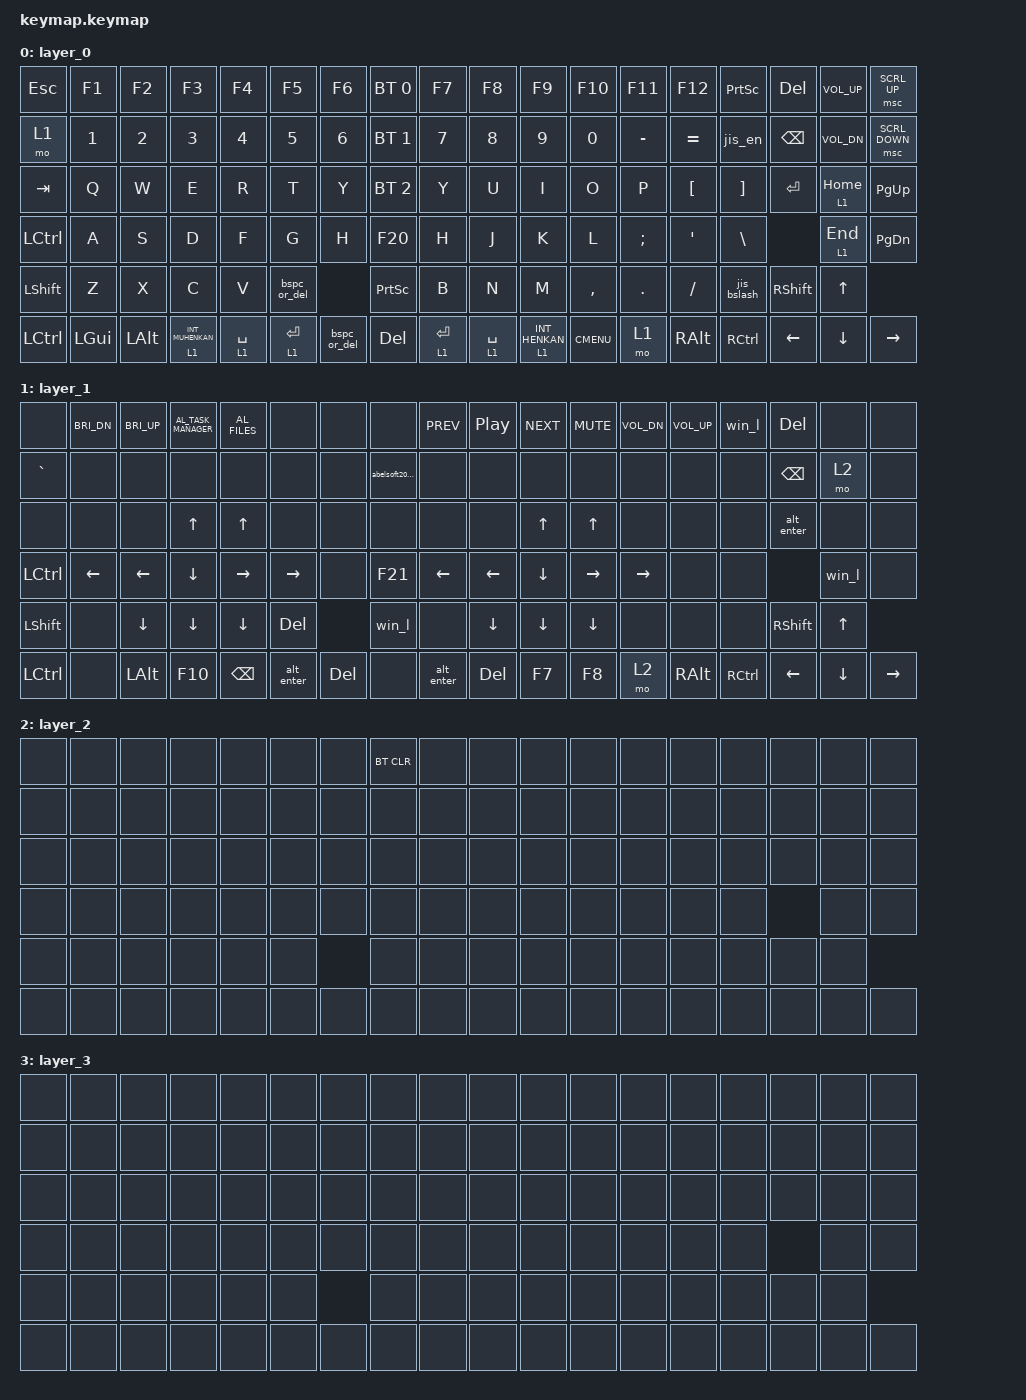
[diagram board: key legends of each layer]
#include <behaviors.dtsi>
#include <dt-bindings/zmk/keys.h>       // キーボード用コード
#include <dt-bindings/zmk/bt.h>         // Bluetooth 用コード
#include <dt-bindings/zmk/pointing.h>   // マウス/スクロール用コード

/ {
    macros {
        win_l: win_l {
            compatible = "zmk,behavior-macro";
            #binding-cells = <0>;
            label = "WIN+L";
            bindings = <&kp LG(L)>;
        };
		alt_enter: alt_enter {
		    compatible = "zmk,behavior-macro";
		    #binding-cells = <0>;
		    label = "ALT+ENTER";
		    bindings = <&kp LA(ENTER)>;
		};
        abelsoft2003: abelsoft2003 {
            compatible = "zmk,behavior-macro";
            #binding-cells = <0>;
            wait-ms = <10>; 
            tap-ms  = <10>;
            bindings = <
                &kp LS(A) &kp B &kp E &kp L &kp S &kp O &kp F &kp T 
                &kp N2 &kp N0 &kp N0 &kp N3
                &kp EXCLAMATION
            >;
        };
        jis_en: jis_en {
		    compatible = "zmk,behavior-mod-morph";
		    label = "jis_en";/*円マークとパイプ*/
		    #binding-cells = <0>;
		    bindings = <&kp 0x87>, <&kp LS(0x89)>;
		    mods      = <(MOD_LSFT | MOD_RSFT)>;
		    keep-mods = <(MOD_LSFT | MOD_RSFT)>;
		};
        jis_bslash: jis_bslash {
		    compatible = "zmk,behavior-mod-morph";
		    label = "jis_bslash";/*バックスラッシュとアンダースコア*/
		    #binding-cells = <0>;
		    bindings = <&kp 0x87>, <&kp LS(0x87)>;
		    mods      = <(MOD_LSFT | MOD_RSFT)>;
		    keep-mods = <(MOD_LSFT | MOD_RSFT)>;
		};
        bspc_or_del: bspc_or_del {
		    compatible = "zmk,behavior-mod-morph";
		    label = "bspc_or_del";/*バックスペースとデリート*/
		    #binding-cells = <0>;
		    bindings = <&kp BSPC>, <&kp DEL>;
		    mods      = <(MOD_LSFT | MOD_RSFT | MOD_LCTL | MOD_RCTL)>;
		};
/*
		custom_del: custom_del {
		    compatible = "zmk,behavior-macro";
		    label = "custom_del";
		    #binding-cells = <0>;
		    bindings = <&kp DEL>;
		};
*/
    };
    keymap {
        compatible = "zmk,keymap";
        layer_0 {
            bindings = <
				&kp ESC			&kp F1		&kp F2		&kp F3				&kp F4			&kp F5			&kp F6			&bt BT_SEL 0				&kp F7			&kp F8			&kp F9				&kp F10			&kp F11			&kp F12			&kp PSCRN				&kp DEL		&kp C_VOL_UP	&msc SCRL_UP
				&mo 1			&kp N1		&kp N2		&kp N3				&kp N4			&kp N5			&kp N6			&bt BT_SEL 1				&kp N7			&kp N8			&kp N9				&kp N0			&kp MINUS/*-*/	&kp EQUAL/*^*/	&jis_en					&kp BSPC	&kp C_VOL_DN	&msc SCRL_DOWN
				&kp TAB			&kp Q		&kp W		&kp E				&kp R			&kp T			&kp Y			&bt BT_SEL 2				&kp Y			&kp U			&kp I				&kp O			&kp P			&kp LBKT/*@*/	&kp RBKT/*[*/			&kp ENTER	&lt 1 HOME		&kp PG_UP
				&kp LCTRL		&kp A		&kp S		&kp D				&kp F			&kp G			&kp H			&kp F20						&kp H			&kp J			&kp K				&kp L			&kp SEMI/*;*/	&kp SQT/*:*/	&kp BACKSLASH/*]*/					&lt 1 END		&kp PG_DN
				&kp LSHIFT		&kp Z		&kp X		&kp C				&kp V			&bspc_or_del					&kp PSCRN					&kp B			&kp N			&kp M				&kp COMMA/*,*/	&kp DOT	/*.*/	&kp SLASH/* */	&jis_bslash				&kp RSHIFT	&kp UP
				&kp LCTRL		&kp LGUI	&kp LALT	&lt 1 INT_MUHENKAN	&lt 1 SPACE		&lt 1 ENTER		&bspc_or_del	&kp DEL						&lt 1 ENTER		&lt 1 SPACE		&lt 1 INT_HENKAN	&kp K_CMENU		&mo 1			&kp RALT		&kp RCTRL				&kp LEFT	&kp DOWN		&kp RIGHT
            >;
        };

        layer_1 {
            bindings =<
				&none			&kp C_BRI_DN	&kp C_BRI_UP	&kp C_AL_TASK_MANAGER		&kp C_AL_FILES		&none			&none			&none					&kp C_PREV		&kp C_PP		&kp C_NEXT			&kp C_MUTE		&kp C_VOL_DN	&kp C_VOL_UP		&win_l					&kp DEL		&none		&none
				&kp GRAVE		&none		&none		&none				&none			&none			&none			&abelsoft2003				&none			&none			&none				&none			&none			&none			&none					&kp BSPC	&mo 2			&none
				&none			&none		&none		&kp UP				&kp UP			&none			&none			&none						&none			&none			&kp UP				&kp UP			&none			&none			&none					&alt_enter	&none			&none
				&kp LCTRL		&kp LEFT	&kp LEFT	&kp DOWN			&kp RIGHT		&kp RIGHT		&none			&kp F21						&kp LEFT		&kp LEFT		&kp DOWN			&kp RIGHT		&kp RIGHT		&none			&none								&win_l			&none
				&kp LSHIFT		&none		&kp DOWN	&kp DOWN			&kp DOWN		&kp DEL							&win_l						&none			&kp DOWN		&kp DOWN			&kp DOWN		&none			&none			&none					&kp RSHIFT	&kp UP
				&kp LCTRL		&none		&kp LALT	&kp F10				&kp BSPC		&alt_enter		&kp DEL			&none						&alt_enter		&kp DEL			&kp F7				&kp F8			&mo 2			&kp RALT		&kp RCTRL				&kp LEFT	&kp DOWN		&kp RIGHT
            >;
        };

        layer_2 {
            bindings =<
				&none			&none		&none		&none				&none			&none			&none			&bt BT_CLR					&none &none &none &none &none &none &none &none &none &none
				&none &none &none &none &none &none &none &none &none &none &none &none &none &none &none &none &none &none
				&none &none &none &none &none &none &none &none &none &none &none &none &none &none &none &none &none &none
				&none &none &none &none &none &none &none &none &none &none &none &none &none &none &none &none &none
				&none &none &none &none &none &none &none &none &none &none &none &none &none &none &none &none
				&none &none &none &none &none &none &none &none &none &none &none &none &none &none &none &none &none &none
            >;
        };

        layer_3 {
            bindings =<
				&none &none &none &none &none &none &none &none &none &none &none &none &none &none &none &none &none &none
				&none &none &none &none &none &none &none &none &none &none &none &none &none &none &none &none &none &none
				&none &none &none &none &none &none &none &none &none &none &none &none &none &none &none &none &none &none
				&none &none &none &none &none &none &none &none &none &none &none &none &none &none &none &none &none
				&none &none &none &none &none &none &none &none &none &none &none &none &none &none &none &none
				&none &none &none &none &none &none &none &none &none &none &none &none &none &none &none &none &none &none
            >;
        };
    };
};
